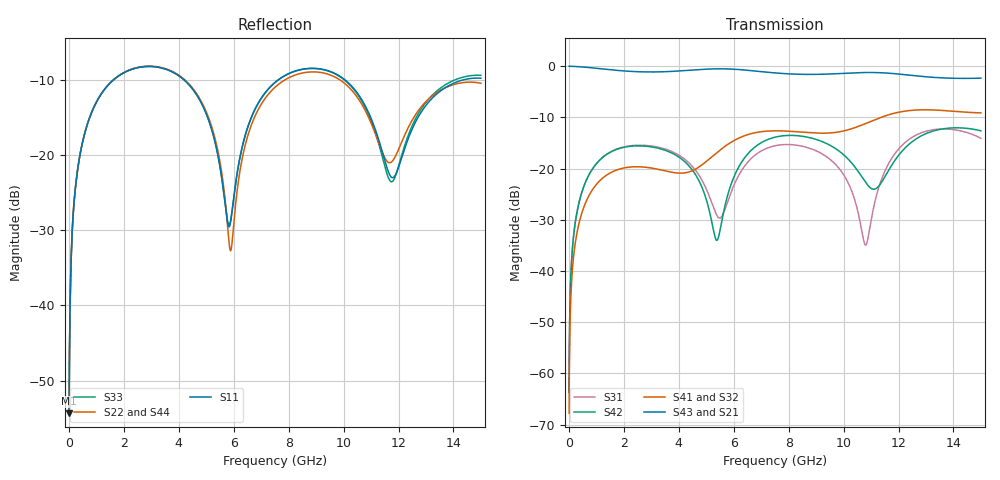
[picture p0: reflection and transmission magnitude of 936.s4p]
! Created with skrf 1.8.0 (http://scikit-rf.org).
# GHz S RI R 50.0
!freq ReS11 ImS11 ReS12 ImS12 ReS13 ImS13
! ReS14 ImS14
! ReS21 ImS21 ReS22 ImS22 ReS23 ImS23
! ReS24 ImS24
! ReS31 ImS31 ReS32 ImS32 ReS33 ImS33
! ReS34 ImS34
! ReS41 ImS41 ReS42 ImS42 ReS43 ImS43
! ReS44 ImS44
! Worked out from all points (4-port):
!   2499 points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, 5 MHz to 15 GHz, reference 50 ohm
!   strongest paths, dB at 5 MHz, 3.476 GHz, 7.19 GHz, 11.1 GHz, 15 GHz:
!     S43: 0.0, -1.1, -1.2, -1.3, -2.4
!     S21: 0.0, -1.1, -1.2, -1.3, -2.3
!     S41: -67.8, -20.4, -12.7, -10.6, -9.1
!     S32: -67.8, -20.5, -12.7, -10.5, -9.2
!     S42: -63.7, -16.4, -14.4, -24.0, -12.6
!     S31: -63.7, -16.2, -16.1, -27.5, -14.1
!   lowest |S11| = -54.3 dB at 5 MHz (marker M1), VSWR 1.00, Z = 50.2 + j0.116 ohm
!   |S11| at or under -10 dB: start of sweep to 1.623 GHz; 4.187 GHz to 7.625 GHz (3.438 GHz wide, 58.2 % of centre); 10.05 GHz to 14.37 GHz (4.319 GHz wide, 35.4 % of centre)
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0.005  0.00153 0.00116  0.9984 -0.00298  7.8e-05 0.000649  -7.56e-05 -0.0004
       0.9984 -0.00298  0.00153 0.00116  -7.55e-05 -0.0004  7.8e-05 0.000649
       7.8e-05 0.000649  -7.55e-05 -0.0004  0.00153 0.00116  0.9984 -0.00298
       -7.56e-05 -0.0004  7.8e-05 0.000649  0.9984 -0.00298  0.00153 0.00116
0.3126303  0.0214 0.0766  0.9707 -0.186  0.0104 0.0388  -0.00853 -0.0237
           0.9707 -0.186  0.0215 0.0766  -0.00852 -0.0237  0.0102 0.0388
           0.0104 0.0388  -0.00852 -0.0237  0.0214 0.0766  0.9707 -0.1859
           -0.00853 -0.0237  0.0102 0.0388  0.9707 -0.1859  0.0215 0.0766
1.519383  0.2411 0.185  0.6062 -0.6929  0.1268 0.0719  -0.0898 -0.0156
          0.6062 -0.6929  0.2423 0.1843  -0.0896 -0.0158  0.1234 0.0759
          0.1268 0.0719  -0.0896 -0.0158  0.2412 0.1849  0.6063 -0.6929
          -0.0898 -0.0156  0.1234 0.0759  0.6063 -0.6929  0.2422 0.1843
5.702376  0.0344 -0.028  -0.9274 -0.1511  -0.0313 0.0272  -0.0221 0.1648
          -0.9274 -0.1511  0.0251 -0.0399  -0.0245 0.1645  0.0257 0.0379
          -0.0313 0.0272  -0.0245 0.1645  0.0352 -0.0284  -0.9274 -0.1514
          -0.0221 0.1648  0.0257 0.0379  -0.9274 -0.1514  0.0243 -0.0405
9.19133  0.3676 -0.0611  0.0362 0.8306  0.129 -0.055  0.2088 -0.0731
         0.0362 0.8306  0.3512 -0.0381  0.2087 -0.0667  0.1323 -0.1285
         0.129 -0.055  0.2087 -0.0667  0.3659 -0.0651  0.0363 0.8315
         0.2088 -0.0731  0.1323 -0.1285  0.0363 0.8315  0.3481 -0.0332
10.8045  0.1448 -0.1518  0.6676 0.5497  -0.0165 -0.00691  0.1654 -0.22
         0.6676 0.5497  0.1505 -0.1243  0.1727 -0.2144  -0.0524 -0.0511
         -0.0165 -0.00691  0.1727 -0.2144  0.1384 -0.1508  0.6692 0.5491
         0.1654 -0.22  -0.0524 -0.0511  0.6692 0.5491  0.1508 -0.1175
15  0.3213 -0.0409  0.0898 -0.7612  0.1836 -0.0718  -0.3463 0.0473
    0.0898 -0.7612  0.2957 -0.05  -0.3432 0.0325  0.1839 -0.1436
    0.1836 -0.0718  -0.3432 0.0325  0.3352 -0.0476  0.0899 -0.7574
    -0.3463 0.0473  0.1839 -0.1436  0.0899 -0.7574  0.3025 -0.0403
